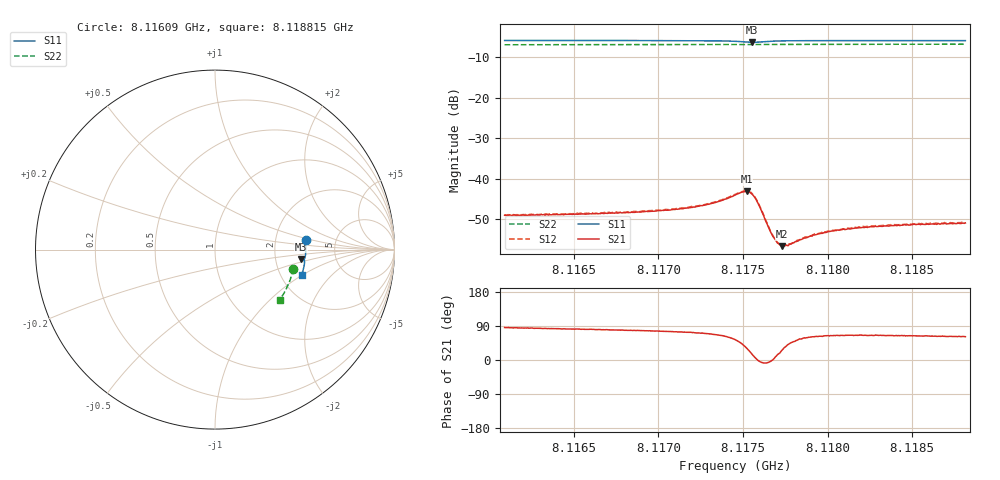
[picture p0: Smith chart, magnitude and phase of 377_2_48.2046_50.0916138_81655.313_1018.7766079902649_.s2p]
#  HZ  S  RI  R  50.00
! Rohde & Schwarz Vector Network Analyzer
! Rohde-Schwarz,ZNB20-2Port,1311601062101988,3.16
! Created: UTC 3/20/2024, 11:52:57 AM
! freq[Hz]  re:S11  im:S11  re:S21  im:S21  re:S12  im:S12  re:S22  im:S22
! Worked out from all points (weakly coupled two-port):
!   401 points, 8.11609 GHz to 8.118815 GHz, reference 50 ohm
!   highest |S21| = -43.18 dB at 8.117521 GHz (marker M1); lowest = -56.7 dB at 8.117732 GHz (marker M2)
!   lowest |S11| = -6.4 dB at 8.117555 GHz (marker M3), VSWR 2.85, Z = 140 - j18.9 ohm
!   |S11| at or under -10 dB: nowhere
!   |S22| runs from -7.0 to -6.8 dB; largest |S21 - S12| = 0.0002
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8.1160902e9  0.5046 0.0515  0.000268 0.00351  0.000352 0.00354  0.4358 -0.1073
8.1165466e9  0.5063 0.017  0.000571 0.00362  0.000617 0.00366  0.4284 -0.1381
8.1170029e9  0.5054 -0.0181  0.000969 0.00391  0.00102 0.00394  0.4188 -0.1684
8.1171323e9  0.5042 -0.0287  0.00117 0.00408  0.0012 0.00413  0.4157 -0.1768
8.1172753e9  0.5021 -0.0412  0.0016 0.00445  0.00167 0.00449  0.4119 -0.1863
8.1173571e9  0.4995 -0.0492  0.00213 0.00476  0.00224 0.00483  0.4096 -0.1916
8.1174524e9  0.492 -0.0586  0.00368 0.00505  0.0038 0.00512  0.4065 -0.1977
8.1174933e9  0.4855 -0.0604  0.00501 0.00461  0.00514 0.00465  0.4052 -0.2001
8.1175205e9  0.4806 -0.0587  0.0059 0.00364  0.00605 0.00368  0.4042 -0.2017
8.1175546e9  0.4776 -0.052  0.00618 0.00162  0.0063 0.00159  0.4035 -0.2034
8.1175887e9  0.4817 -0.0459  0.00495 -9.58e-05  0.00505 -0.000121  0.4025 -0.2052
8.11765e9  0.4925 -0.0477  0.00251 -0.000274  0.00257 -0.000306  0.4014 -0.2092
8.1176772e9  0.4952 -0.0508  0.00193 3.39e-05  0.00197 3.55e-05  0.4007 -0.2109
8.1177044e9  0.4969 -0.0543  0.00154 0.000395  0.00159 0.00037  0.3999 -0.2128
8.1177317e9  0.4978 -0.0573  0.00131 0.000649  0.00137 0.000644  0.3991 -0.2145
8.1177726e9  0.4986 -0.0618  0.00113 0.00103  0.00116 0.00105  0.3979 -0.2171
8.1179088e9  0.4987 -0.0749  0.000937 0.00171  0.000977 0.00175  0.3936 -0.2257
8.1180041e9  0.4976 -0.083  0.000958 0.00199  0.00101 0.00201  0.3905 -0.2318
8.1180791e9  0.4967 -0.0891  0.000985 0.00212  0.00101 0.00214  0.3879 -0.2365
8.1182016e9  0.495 -0.0986  0.00102 0.00226  0.0011 0.00229  0.3838 -0.2438
8.1183651e9  0.4924 -0.1112  0.0011 0.00236  0.00115 0.00241  0.3778 -0.2538
8.1188146e9  0.4836 -0.1438  0.00135 0.00249  0.00137 0.00247  0.3603 -0.28
